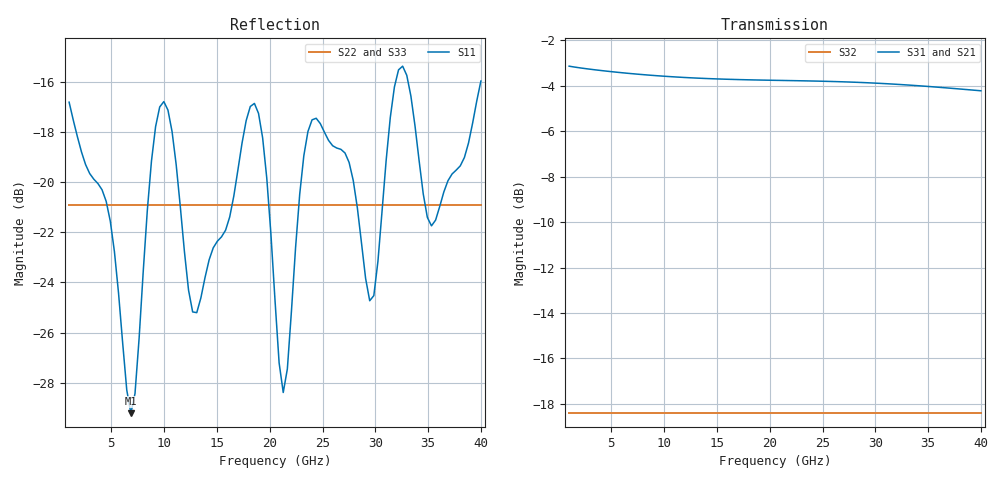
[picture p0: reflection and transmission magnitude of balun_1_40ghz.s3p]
! Created with skrf 2.2.0 (http://scikit-rf.org).
# Hz S RI R 50.0
!freq ReS11 ImS11 ReS12 ImS12 ReS13 ImS13
! ReS21 ImS21 ReS22 ImS22 ReS23 ImS23
! ReS31 ImS31 ReS32 ImS32 ReS33 ImS33
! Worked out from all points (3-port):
!   101 points, 1 GHz to 40 GHz, reference 50 ohm
!   strongest paths, dB at 1 GHz, 10.75 GHz, 20.5 GHz, 30.25 GHz, 40 GHz:
!     S31: -3.1, -3.6, -3.8, -3.9, -4.2
!     S21: -3.1, -3.4, -3.8, -4.1, -4.2
!     S32: -18.4, -18.4, -18.4, -18.4, -18.4
!   lowest |S11| = -29.2 dB at 6.85 GHz (marker M1), VSWR 1.07, Z = 46.7 - j0.495 ohm
!   |S11| at or under -10 dB: start of sweep to end of sweep
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1e9  0.1442 0.000326  0.6285 -0.302  -0.6297 0.2995
     0.6285 -0.302  0.0872 -0.0222  0.1117 -0.0438
     -0.6297 0.2995  0.1117 -0.0438  0.0873 -0.0218
6.85e9  -0.0342 -0.0053  -0.6852 -0.0016  0.6713 0.019
        -0.6852 -0.0016  -0.0155 -0.0887  -0.1038 -0.0602
        0.6713 0.019  -0.1038 -0.0602  -0.0132 -0.089
1.348e10  0.0567 -0.0155  0.6694 -0.041  -0.6557 0.0105
          0.6694 -0.041  -0.0835 0.0336  0.0652 0.1007
          -0.6557 0.0105  0.0652 0.1007  -0.0849 0.0298
1.66e10  -0.0377 -0.0859  -0.0247 -0.661  -0.00877 0.6519
         -0.0247 -0.661  -0.029 0.0852  0.1149 -0.0346
         -0.00877 0.6519  0.1149 -0.0346  -0.0333 0.0836
2.05e10  -0.0308 0.0494  -0.5925 0.2648  0.6061 -0.2322
         -0.5925 0.2648  0.0618 0.0654  -0.0412 -0.1127
         0.6061 -0.2322  -0.0412 -0.1127  0.0582 0.0687
2.557e10  0.0913 -0.0795  0.6255 0.1021  -0.6307 -0.1375
          0.6255 0.1021  0.0739 -0.0514  -0.0734 0.0949
          -0.6307 -0.1375  -0.0734 0.0949  0.0765 -0.0475
2.908e10  -0.058 -0.0279  -0.0293 -0.6249  -0.000878 0.6413
          -0.0293 -0.6249  -0.00234 -0.09  0.0881 0.0815
          -0.000878 0.6413  0.0881 0.0815  0.002 -0.09
3.22e10  -0.0427 0.1617  -0.6194 0.0376  0.6356 -0.0119
         -0.6194 0.0376  -0.0709 -0.0555  0.1008 -0.0652
         0.6356 -0.0119  0.1008 -0.0652  -0.0685 -0.0584
3.571e10  0.083 -0.0129  0.1674 0.5942  -0.15 -0.6091
          0.1674 0.5942  -0.0852 0.0289  -0.0565 -0.1058
          -0.15 -0.6091  -0.0565 -0.1058  -0.0861 0.0261
4e10  -0.1344 -0.0847  0.3891 -0.477  -0.399 0.4687
      0.3891 -0.477  -0.0028 0.09  -0.0887 0.0808
      -0.399 0.4687  -0.0887 0.0808  -0.00468 0.0899
